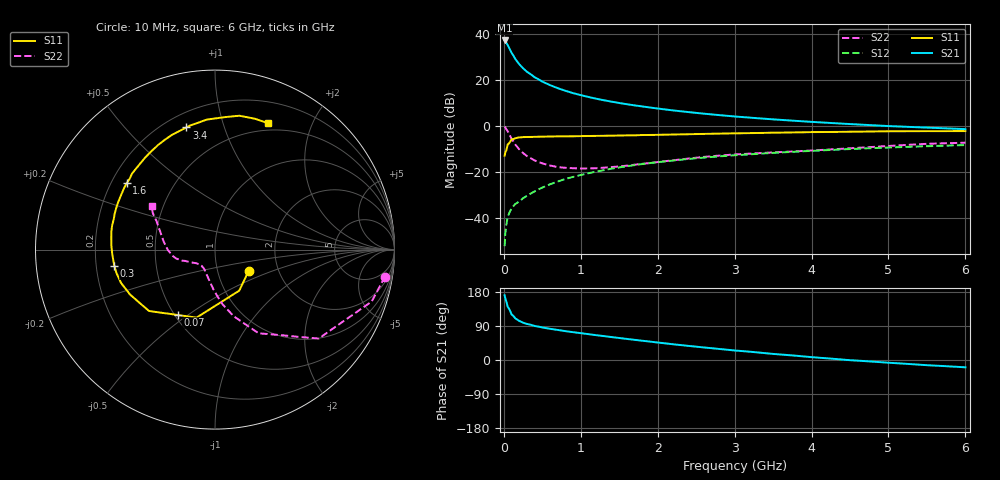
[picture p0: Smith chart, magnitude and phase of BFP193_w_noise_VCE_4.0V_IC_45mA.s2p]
! Infineon Technologies  Discrete & RF Semiconductors
! BFP193
! VCE =  4.0 V,  IC =  45 mA
! Common Emitter S-Parameters:  Jan 2017
# GHz  S  MA  R  50
!  f  S11  S21  S12  S22
! GHz  MAG  ANG  MAG  ANG  MAG  ANG  MAG  ANG
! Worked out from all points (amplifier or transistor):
!   77 points, 10 MHz to 6 GHz, reference 50 ohm
!   highest |S21| = 37.1 dB at 10 MHz (marker M1)
!   |S21| within 3 dB of that: start of sweep to 65.48 MHz
!   unconditionally stable (mu >= 1): 595.7 MHz to 2.396 GHz
!   at 130 MHz: K = 0.60, MSG = 32.5 dB, |S12| = -34.8 dB
!   at 2.2 GHz: K = 1.01, MAG = 10.3 dB, |S12| = -15.1 dB
!   at 6 GHz: K = 0.93, MSG = 3.5 dB, |S12| = -8.4 dB
!   lowest NFmin = 1.45 dB at 450 MHz
!   S11 on the Smith chart (normalised r, x): 10 MHz: 1.41, -0.36; 70 MHz: 0.52, -0.46; 300 MHz: 0.28, -0.07; 1.6 GHz: 0.26, +0.31; 3.4 GHz: 0.28, +0.75; 6 GHz: 0.42, +1.42
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0.01  0.2222 -32.8  71.42 170.7  0.0024 88.5  0.9592 -9.0
0.02  0.2656 -59.4  69.64 162.1  0.0046 76.8  0.9198 -18.3
0.05  0.3927 -105.2  56.74 140.7  0.0103 63.7  0.7615 -40.6
0.07  0.4198 -119.8  48.85 134.4  0.0125 62.0  0.6566 -47.5
0.1  0.5023 -137.1  38.71 120.3  0.0159 60.3  0.5255 -62.5
0.15  0.5354 -152.1  28.07 109.7  0.0199 57.8  0.3861 -74.3
0.2  0.5556 -160.5  21.79 103.2  0.0224 61.8  0.3069 -82.2
0.25  0.5644 -166.7  17.72 98.4  0.0265 62.4  0.2545 -87.8
0.3  0.5683 -170.9  14.9 95.2  0.0299 63.8  0.2186 -92.7
0.4  0.5729 -177.3  11.34 89.9  0.0372 66.7  0.1755 -100.3
0.5  0.5779 177.7  9.109 85.8  0.0452 66.5  0.1516 -106.8
0.6  0.5818 173.5  7.637 82.3  0.0532 67.3  0.1363 -112.9
0.7  0.5864 170.0  6.551 79.3  0.0609 68.2  0.126 -117.3
0.8  0.5888 166.6  5.753 76.2  0.0696 68.0  0.1214 -121.5
1.1  0.5971 157.1  4.212 68.2  0.0925 65.9  0.1179 -132.7
1.6  0.6157 142.9  2.93 55.6  0.1318 60.5  0.1351 -146.5
2.1  0.6376 129.8  2.254 43.9  0.1679 54.1  0.1694 -157.2
3.1  0.686 108.6  1.542 23.5  0.2328 41.4  0.2419 -173.0
3.4  0.6991 103.2  1.413 18.0  0.2503 37.9  0.2571 -177.9
4.1  0.7274 92.1  1.185 6.0  0.289 29.5  0.2953 169.1
5.1  0.7581 78.4  0.967 -8.4  0.3399 17.9  0.3706 153.0
6  0.764 67.2  0.842 -19.3  0.3794 7.9  0.4272 145.3
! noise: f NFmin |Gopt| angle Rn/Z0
0.45  1.45  0.4  -171  0.08
0.9  1.49  0.43  -165  0.08
1.9  2.13  0.59  -134  0.21
2.4  2.45  0.63  -119  0.45
